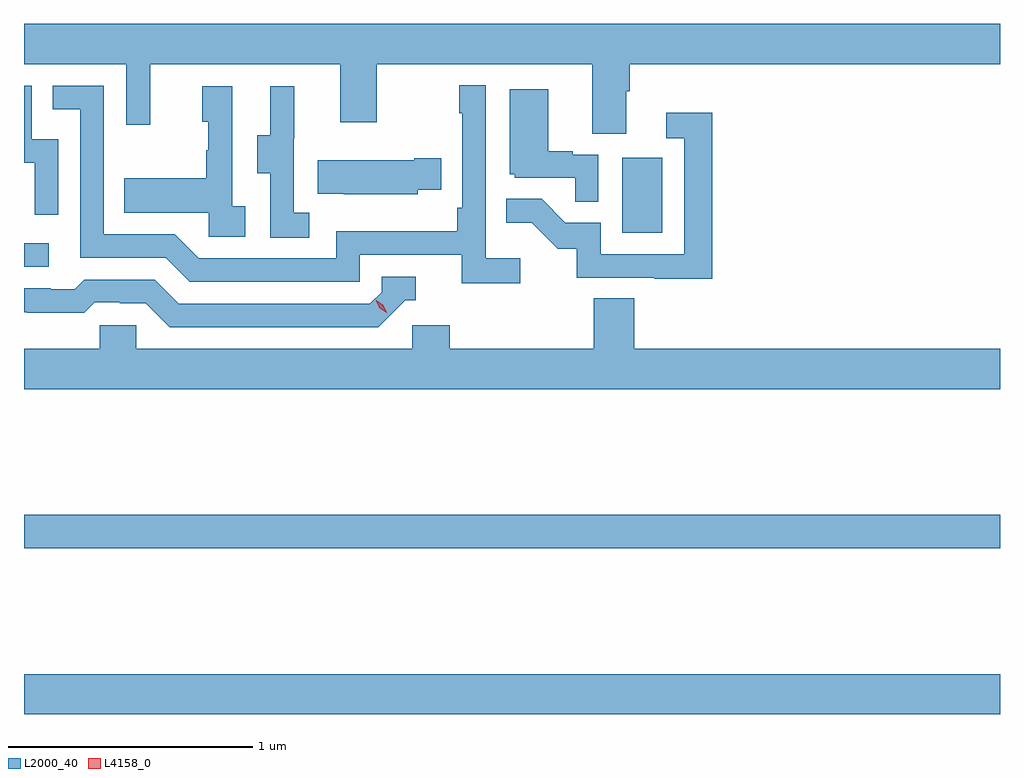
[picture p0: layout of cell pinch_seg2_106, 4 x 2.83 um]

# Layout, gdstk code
import gdstk
lib = gdstk.Library(unit=1e-6, precision=1e-09)
def R(c, l, rs):  # rectangles x0, y0, x1, y1
    for r in rs: c.add(gdstk.rectangle(r[:2], r[2:], *l))
def P(c, l, *ps):  # polygons
    for p in ps: c.add(gdstk.Polygon(p, *l))
L2000_40 = (2000, 40)
L4158_0 = (4158, 0)

pinch_seg2_106 = lib.new_cell('pinch_seg2_106')
R(pinch_seg2_106, L2000_40, [(1018.72,632.984,1022.72,633.148), (1018.72,633.664,1022.72,633.8), (1018.72,634.818,1018.822,634.914), (1021.172,634.956,1021.336,635.263)])
P(pinch_seg2_106, L2000_40, [(1018.72,635.648),(1019.139,635.648),(1019.139,635.4),(1019.237,635.4),(1019.237,635.648),(1020.017,635.648),(1020.017,635.409),(1020.165,635.409),(1020.165,635.648),(1021.049,635.648),(1021.049,635.362),(1021.189,635.362),(1021.189,635.536),(1021.202,635.536),(1021.202,635.648),(1022.72,635.648),(1022.72,635.812),(1018.72,635.812)],
  [(1020.754,634.852),(1020.612,634.852),(1020.612,635.56),(1020.504,635.56),(1020.504,635.447),(1020.516,635.447),(1020.516,635.059),(1020.496,635.059),(1020.496,634.963),(1020,634.963),(1020,634.851),(1019.436,634.851),(1019.337,634.95),(1019.046,634.95),(1019.046,635.559),(1018.837,635.559),(1018.837,635.463),(1018.95,635.463),(1018.95,634.854),(1019.3,634.854),(1019.399,634.755),(1020.096,634.755),(1020.096,634.866),(1020.515,634.866),(1020.515,634.75),(1020.754,634.75)],
  [(1018.86,635.34),(1018.752,635.34),(1018.752,635.559),(1018.72,635.559),(1018.72,635.243),(1018.764,635.243),(1018.764,635.031),(1018.86,635.031)],
  [(1019.626,635.066),(1019.574,635.066),(1019.574,635.557),(1019.45,635.557),(1019.45,635.412),(1019.476,635.412),(1019.476,635.294),(1019.466,635.294),(1019.466,635.179),(1019.131,635.179),(1019.131,635.039),(1019.478,635.039),(1019.478,634.941),(1019.626,634.941)],
  [(1019.89,635.039),(1019.826,635.039),(1019.826,635.343),(1019.828,635.343),(1019.828,635.557),(1019.729,635.557),(1019.729,635.355),(1019.675,635.355),(1019.675,635.2),(1019.73,635.2),(1019.73,634.936),(1019.89,634.936)],
  [(1021.074,635.277),(1020.968,635.277),(1020.968,635.29),(1020.868,635.29),(1020.868,635.545),(1020.71,635.545),(1020.71,635.196),(1020.732,635.196),(1020.732,635.181),(1020.979,635.181),(1020.979,635.083),(1021.074,635.083)],
  [(1021.541,635.449),(1021.353,635.449),(1021.353,635.343),(1021.425,635.343),(1021.425,634.869),(1021.083,634.869),(1021.083,634.998),(1020.939,634.998),(1020.841,635.096),(1020.697,635.096),(1020.697,634.997),(1020.801,634.997),(1020.908,634.89),(1020.985,634.89),(1020.985,634.773),(1021.303,634.773),(1021.303,634.768),(1021.541,634.768)],
  [(1020.333,635.132),(1020.431,635.132),(1020.431,635.262),(1020.32,635.262),(1020.32,635.254),(1019.923,635.254),(1019.923,635.117),(1020.031,635.117),(1020.031,635.114),(1020.333,635.114)],
  [(1020.282,634.68),(1020.325,634.68),(1020.325,634.776),(1020.186,634.776),(1020.186,634.713),(1020.138,634.665),(1019.355,634.665),(1019.256,634.764),(1018.967,634.764),(1018.928,634.725),(1018.829,634.725),(1018.829,634.728),(1018.72,634.728),(1018.72,634.631),(1018.734,634.631),(1018.734,634.629),(1018.967,634.629),(1019.009,634.671),(1019.112,634.671),(1019.112,634.668),(1019.219,634.668),(1019.318,634.569),(1020.171,634.569)],
  [(1022.72,634.48),(1021.22,634.48),(1021.22,634.688),(1021.055,634.688),(1021.055,634.48),(1020.464,634.48),(1020.464,634.578),(1020.312,634.578),(1020.312,634.48),(1019.181,634.48),(1019.181,634.578),(1019.031,634.578),(1019.031,634.48),(1018.72,634.48),(1018.72,634.316),(1022.72,634.316)])
P(pinch_seg2_106, L4158_0, [(1020.208,634.626),(1020.178,634.646),(1020.162,634.679),(1020.162,634.68),(1020.163,634.68),(1020.193,634.659),(1020.208,634.626),(1020.208,634.626)])

lib.write_gds('pinch_seg2_106.gds')
